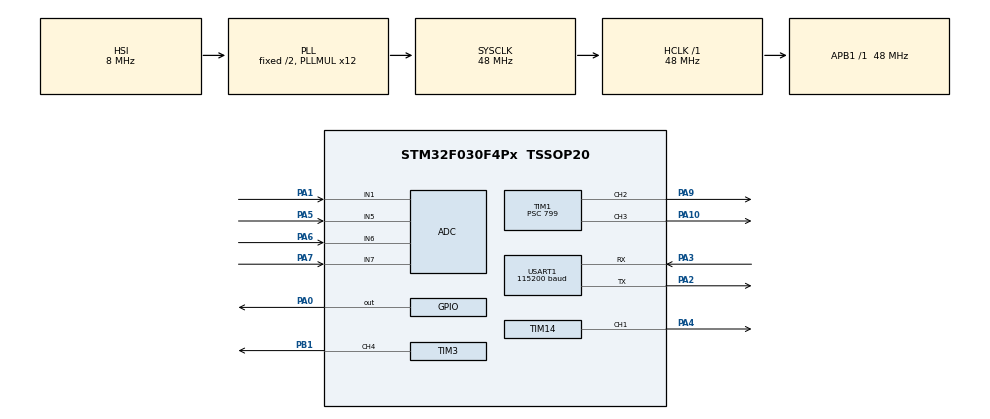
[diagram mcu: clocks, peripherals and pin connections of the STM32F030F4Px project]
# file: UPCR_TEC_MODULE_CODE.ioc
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ADC.ClockPrescaler=ADC_CLOCK_ASYNC_DIV1
ADC.ContinuousConvMode=DISABLE
ADC.DMAContinuousRequests=ENABLE
ADC.DiscontinuousConvMode=DISABLE
ADC.EOCSelection=ADC_EOC_SEQ_CONV
ADC.ExternalTrigConv=ADC_SOFTWARE_START
ADC.Overrun=ADC_OVR_DATA_OVERWRITTEN
ADC.SamplingTime=ADC_SAMPLETIME_239CYCLES_5
Dma.ADC.0.Direction=DMA_PERIPH_TO_MEMORY
Dma.ADC.0.Instance=DMA1_Channel1
Dma.ADC.0.MemDataAlignment=DMA_MDATAALIGN_WORD
Dma.ADC.0.MemInc=DMA_MINC_ENABLE
Dma.ADC.0.Mode=DMA_CIRCULAR
Dma.ADC.0.PeriphDataAlignment=DMA_PDATAALIGN_WORD
Dma.ADC.0.PeriphInc=DMA_PINC_DISABLE
Dma.ADC.0.Priority=DMA_PRIORITY_LOW
Dma.Request0=ADC
Dma.Request1=USART1_RX
Dma.USART1_RX.1.Direction=DMA_PERIPH_TO_MEMORY
Dma.USART1_RX.1.Instance=DMA1_Channel3
Dma.USART1_RX.1.MemDataAlignment=DMA_MDATAALIGN_BYTE
Dma.USART1_RX.1.MemInc=DMA_MINC_ENABLE
Dma.USART1_RX.1.Mode=DMA_CIRCULAR
Dma.USART1_RX.1.PeriphDataAlignment=DMA_PDATAALIGN_BYTE
Dma.USART1_RX.1.PeriphInc=DMA_PINC_DISABLE
Dma.USART1_RX.1.Priority=DMA_PRIORITY_LOW
Mcu.Family=STM32F0
Mcu.Name=STM32F030F4Px
Mcu.Package=TSSOP20
NVIC.DMA1_Channel1_IRQn=true\:0\:0\:false\:false\:true\:false\:true
NVIC.DMA1_Channel2_3_IRQn=true\:0\:0\:false\:false\:true\:false\:true
NVIC.TIM16_IRQn=true\:0\:0\:false\:false\:true\:true\:true
PA0.Signal=GPIO_Output
PA1.Mode=IN1
PA1.Signal=ADC_IN1
PA10.Signal=S_TIM1_CH3
PA13.Mode=Serial_Wire
PA13.Signal=SYS_SWDIO
PA14.Mode=Serial_Wire
PA14.Signal=SYS_SWCLK
PA2.Mode=Asynchronous
PA2.Signal=USART1_TX
PA3.Mode=Asynchronous
PA3.Signal=USART1_RX
PA4.Signal=S_TIM14_CH1
PA5.Mode=IN5
PA5.Signal=ADC_IN5
PA6.Mode=IN6
PA6.Signal=ADC_IN6
PA7.Mode=IN7
PA7.Signal=ADC_IN7
PA9.Signal=S_TIM1_CH2
PB1.Signal=S_TIM3_CH4
PF0-OSC_IN.Mode=HSE-External-Oscillator
PF0-OSC_IN.Signal=RCC_OSC_IN
PF1-OSC_OUT.Mode=HSE-External-Oscillator
PF1-OSC_OUT.Signal=RCC_OSC_OUT
ProjectManager.HeapSize=0x200
ProjectManager.StackSize=0x400
ProjectManager.TargetToolchain=Makefile
RCC.AHBFreq_Value=48000000
RCC.APB1Freq_Value=48000000
RCC.APB1TimFreq_Value=48000000
RCC.HCLKFreq_Value=48000000
RCC.PLLMUL=RCC_PLL_MUL12
RCC.SYSCLKFreq_VALUE=48000000
RCC.SYSCLKSource=RCC_SYSCLKSOURCE_PLLCLK
SH.S_TIM14_CH1.0=TIM14_CH1,PWM Generation1 CH1
SH.S_TIM1_CH2.0=TIM1_CH2,PWM Generation2 CH2
SH.S_TIM1_CH3.0=TIM1_CH3,PWM Generation3 CH3
SH.S_TIM3_CH4.0=TIM3_CH4,PWM Generation4 CH4
TIM1.Channel-PWM\ Generation2\ CH2=TIM_CHANNEL_2
TIM1.Channel-PWM\ Generation3\ CH3=TIM_CHANNEL_3
TIM1.Period=99
TIM1.Prescaler=799
TIM14.Channel=TIM_CHANNEL_1
TIM14.Period=99
TIM14.Prescaler=799
TIM16.Period=9
TIM16.Prescaler=47999
TIM3.Channel-PWM\ Generation4\ CH4=TIM_CHANNEL_4
USART1.BaudRate=115200
USART1.VirtualMode-Asynchronous=VM_ASYNC
VP_TIM14_VS_ClockSourceINT.Mode=Enable_Timer
VP_TIM16_VS_ClockSourceINT.Mode=Enable_Timer
board=custom

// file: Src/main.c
/* USER CODE BEGIN Header */
/**
  ******************************************************************************
  * @file           : main.c
  * @brief          : Main program body
  ******************************************************************************
  * @attention
  *
  * <h2><center>&copy; Copyright (c) 2019 STMicroelectronics.
  * All rights reserved.</center></h2>
  *
  * This software component is licensed by ST under BSD 3-Clause license,
  * the "License"; You may not use this file except in compliance with the
  * License. You may obtain a copy of the License at:
  *                        opensource.org/licenses/BSD-3-Clause
  *
  ******************************************************************************
  */
/* USER CODE END Header */

#include "main.h"

/* USER CODE BEGIN Includes */
#include "NTC.h"
#include "stm32f0xx_it.h"
#include <stdio.h>
#include <string.h>

/* USER CODE END Includes */

ADC_HandleTypeDef hadc;
DMA_HandleTypeDef hdma_adc;

TIM_HandleTypeDef htim1;
TIM_HandleTypeDef htim3;
TIM_HandleTypeDef htim14;
TIM_HandleTypeDef htim16;

UART_HandleTypeDef huart1;
DMA_HandleTypeDef hdma_usart1_rx;

/* USER CODE BEGIN PV */
volatile int enable_pid_flag, dma_adc_status_flag, new_rx_data_flag;
uint32_t new_adc_reading[4], read_adc[4]; // containers for DMA buffer and extracting data from it

uint16_t Setpoint;
uint8_t rx_buffer[4], data[4];

/* USER CODE END PV */

void SystemClock_Config(void);
static void MX_GPIO_Init(void);
static void MX_ADC_Init(void);
static void MX_TIM1_Init(void);
static void MX_TIM3_Init(void);
static void MX_TIM14_Init(void);
static void MX_USART1_UART_Init(void);
static void MX_TIM16_Init(void);
static void MX_DMA_Init(void);
/* USER CODE BEGIN PFP */
void pwm_set_value(uint8_t channel, uint16_t value);
void calibrateADC(); // remove ADC offset

/* USER CODE END PFP */

/* USER CODE BEGIN 0 */
void HAL_TIM_PeriodElapsedCallback(TIM_HandleTypeDef* htim)
{
    if (htim->Instance == TIM16) {
        HAL_ADC_Start_DMA(&hadc, new_adc_reading, 4);
    }
}

void HAL_ADC_ConvCpltCallback(ADC_HandleTypeDef* hadc)
{
    //despite its name this funciton gets called when the  DMA transfer complete interrupt is triggered
    dma_adc_status_flag = 1;
}
void HAL_UART_RxCpltCallback(UART_HandleTypeDef* huart)
{
    //this happens when the receive buffer is full
    new_rx_data_flag = 1;
}

/* USER CODE END 0 */

int main(void)
{

    /* MCU Configuration--------------------------------------------------------*/

    /* Reset of all peripherals, Initializes the Flash interface and the Systick. */
    HAL_Init();

    /* Configure the system clock */
    SystemClock_Config();

    /* Initialize all configured peripherals */
    MX_GPIO_Init();
    MX_ADC_Init();
    MX_TIM1_Init();
    MX_TIM3_Init();
    MX_TIM14_Init();
    MX_USART1_UART_Init();
    MX_TIM16_Init();
    MX_DMA_Init();
    /* USER CODE BEGIN 2 */
    HAL_ADC_MspInit(&hadc); // I need to call this function again because of a STM32CubeMX bug: when MX_DMA_Init runs it breaks the DMA settings done in the ADC so we have to reconfiure it later
    HAL_UART_MspInit(&huart1); // same, STM32DubeMX bug.
    HAL_TIM_Base_Start_IT(&htim16); //enable timer 16 with interrupt
    HAL_GPIO_WritePin(GPIOA, GPIO_PIN_0, 1); // enable RX and TX
    HAL_UART_Receive_DMA(&huart1, rx_buffer, sizeof(rx_buffer));

    /* USER CODE END 2 */

    /* Infinite loop */
    /* USER CODE BEGIN WHILE */
    while (1) {

        if (new_rx_data_flag == 1) {
            //new data is available in the DMA buffer, pull it out before it gets overwritten
            memcpy(data, rx_buffer, sizeof(rx_buffer));
            new_rx_data_flag = 0; //reset flag
            if (data[0] == 0x54) // if Byte 1= "T" for Temperature  T->0x54
            {
                Setpoint = (uint16_t)data[1];
                enable_pid_flag = 1;
            }

            if (data[0] == 0x53) // if Byte 1= "S" for Stop  S->0x53
            {
                enable_pid_flag = 0;
            }
        }

        if ((dma_adc_status_flag == 1) && (enable_pid_flag == 1)) {
            // reset the flag
            dma_adc_status_flag = 0;
            //new data is available in the DMA buffer, pull it out before it gets overwritten
            memcpy(read_adc, new_adc_reading, sizeof(read_adc));

            // run PID function
            int32_t result = compute_temp_PID(Setpoint, read_adc[0]);

            //set Output PWM
            // if result is positive: run the heater, turn off the cooler
            // if result is negative: run the cooler, turn off the heater
            // we assume the heater is connected to TEC1 and the Cooler to TEC2
            if (result >= 0) {
                pwm_set_value(1, result);
                pwm_set_value(3, 0);
            } else {
                pwm_set_value(1, 0);
                pwm_set_value(3, -result);
            }
        }

        /* USER CODE END WHILE */

    }
}

void SystemClock_Config(void)
{
    RCC_OscInitTypeDef RCC_OscInitStruct = { 0 };
    RCC_ClkInitTypeDef RCC_ClkInitStruct = { 0 };
    RCC_PeriphCLKInitTypeDef PeriphClkInit = { 0 };

    /** Initializes the CPU, AHB and APB busses clocks
  */
    RCC_OscInitStruct.OscillatorType = RCC_OSCILLATORTYPE_HSI | RCC_OSCILLATORTYPE_HSI14;
    RCC_OscInitStruct.HSIState = RCC_HSI_ON;
    RCC_OscInitStruct.HSI14State = RCC_HSI14_ON;
    RCC_OscInitStruct.HSICalibrationValue = RCC_HSICALIBRATION_DEFAULT;
    RCC_OscInitStruct.HSI14CalibrationValue = 16;
    RCC_OscInitStruct.PLL.PLLState = RCC_PLL_ON;
    RCC_OscInitStruct.PLL.PLLSource = RCC_PLLSOURCE_HSI;
    RCC_OscInitStruct.PLL.PLLMUL = RCC_PLL_MUL12;
    RCC_OscInitStruct.PLL.PREDIV = RCC_PREDIV_DIV1;
    if (HAL_RCC_OscConfig(&RCC_OscInitStruct) != HAL_OK) {
        Error_Handler();
    }
    /** Initializes the CPU, AHB and APB busses clocks
  */
    RCC_ClkInitStruct.ClockType = RCC_CLOCKTYPE_HCLK | RCC_CLOCKTYPE_SYSCLK
        | RCC_CLOCKTYPE_PCLK1;
    RCC_ClkInitStruct.SYSCLKSource = RCC_SYSCLKSOURCE_PLLCLK;
    RCC_ClkInitStruct.AHBCLKDivider = RCC_SYSCLK_DIV1;
    RCC_ClkInitStruct.APB1CLKDivider = RCC_HCLK_DIV1;

    if (HAL_RCC_ClockConfig(&RCC_ClkInitStruct, FLASH_LATENCY_1) != HAL_OK) {
        Error_Handler();
    }
    PeriphClkInit.PeriphClockSelection = RCC_PERIPHCLK_USART1;
    PeriphClkInit.Usart1ClockSelection = RCC_USART1CLKSOURCE_PCLK1;
    if (HAL_RCCEx_PeriphCLKConfig(&PeriphClkInit) != HAL_OK) {
        Error_Handler();
    }
}

static void MX_ADC_Init(void)
{

    ADC_ChannelConfTypeDef sConfig = { 0 };

    /** Configure the global features of the ADC (Clock, Resolution, Data Alignment and number of conversion)
  */
    hadc.Instance = ADC1;
    hadc.Init.ClockPrescaler = ADC_CLOCK_ASYNC_DIV1;
    hadc.Init.Resolution = ADC_RESOLUTION_12B;
    hadc.Init.DataAlign = ADC_DATAALIGN_RIGHT;
    hadc.Init.ScanConvMode = ADC_SCAN_DIRECTION_FORWARD;
    hadc.Init.EOCSelection = ADC_EOC_SEQ_CONV;
    hadc.Init.LowPowerAutoWait = DISABLE;
    hadc.Init.LowPowerAutoPowerOff = DISABLE;
    hadc.Init.ContinuousConvMode = DISABLE;
    hadc.Init.DiscontinuousConvMode = DISABLE;
    hadc.Init.ExternalTrigConv = ADC_SOFTWARE_START;
    hadc.Init.ExternalTrigConvEdge = ADC_EXTERNALTRIGCONVEDGE_NONE;
    hadc.Init.DMAContinuousRequests = ENABLE;
    hadc.Init.Overrun = ADC_OVR_DATA_OVERWRITTEN;
    if (HAL_ADC_Init(&hadc) != HAL_OK) {
        Error_Handler();
    }
    /** Configure for the selected ADC regular channel to be converted.
  */
    sConfig.Channel = ADC_CHANNEL_1;
    sConfig.Rank = ADC_RANK_CHANNEL_NUMBER;
    sConfig.SamplingTime = ADC_SAMPLETIME_239CYCLES_5;
    if (HAL_ADC_ConfigChannel(&hadc, &sConfig) != HAL_OK) {
        Error_Handler();
    }
    /** Configure for the selected ADC regular channel to be converted.
  */
    sConfig.Channel = ADC_CHANNEL_5;
    if (HAL_ADC_ConfigChannel(&hadc, &sConfig) != HAL_OK) {
        Error_Handler();
    }
    /** Configure for the selected ADC regular channel to be converted.
  */
    sConfig.Channel = ADC_CHANNEL_6;
    if (HAL_ADC_ConfigChannel(&hadc, &sConfig) != HAL_OK) {
        Error_Handler();
    }
    /** Configure for the selected ADC regular channel to be converted.
  */
    sConfig.Channel = ADC_CHANNEL_7;
    if (HAL_ADC_ConfigChannel(&hadc, &sConfig) != HAL_OK) {
        Error_Handler();
    }
    /* USER CODE BEGIN ADC_Init 2 */

    calibrateADC();
    /* USER CODE END ADC_Init 2 */
}

static void MX_TIM1_Init(void)
{

    TIM_MasterConfigTypeDef sMasterConfig = { 0 };
    TIM_OC_InitTypeDef sConfigOC = { 0 };
    TIM_BreakDeadTimeConfigTypeDef sBreakDeadTimeConfig = { 0 };

    htim1.Instance = TIM1;
    htim1.Init.Prescaler = 799;
    htim1.Init.CounterMode = TIM_COUNTERMODE_UP;
    htim1.Init.Period = 99;
    htim1.Init.ClockDivision = TIM_CLOCKDIVISION_DIV1;
    htim1.Init.RepetitionCounter = 0;
    htim1.Init.AutoReloadPreload = TIM_AUTORELOAD_PRELOAD_DISABLE;
    if (HAL_TIM_PWM_Init(&htim1) != HAL_OK) {
        Error_Handler();
    }
    sMasterConfig.MasterOutputTrigger = TIM_TRGO_RESET;
    sMasterConfig.MasterSlaveMode = TIM_MASTERSLAVEMODE_DISABLE;
    if (HAL_TIMEx_MasterConfigSynchronization(&htim1, &sMasterConfig) != HAL_OK) {
        Error_Handler();
    }
    sConfigOC.OCMode = TIM_OCMODE_PWM1;
    sConfigOC.Pulse = 0;
    sConfigOC.OCPolarity = TIM_OCPOLARITY_HIGH;
    sConfigOC.OCNPolarity = TIM_OCNPOLARITY_HIGH;
    sConfigOC.OCFastMode = TIM_OCFAST_DISABLE;
    sConfigOC.OCIdleState = TIM_OCIDLESTATE_RESET;
    sConfigOC.OCNIdleState = TIM_OCNIDLESTATE_RESET;
    if (HAL_TIM_PWM_ConfigChannel(&htim1, &sConfigOC, TIM_CHANNEL_2) != HAL_OK) {
        Error_Handler();
    }
    if (HAL_TIM_PWM_ConfigChannel(&htim1, &sConfigOC, TIM_CHANNEL_3) != HAL_OK) {
        Error_Handler();
    }
    sBreakDeadTimeConfig.OffStateRunMode = TIM_OSSR_DISABLE;
    sBreakDeadTimeConfig.OffStateIDLEMode = TIM_OSSI_DISABLE;
    sBreakDeadTimeConfig.LockLevel = TIM_LOCKLEVEL_OFF;
    sBreakDeadTimeConfig.DeadTime = 0;
    sBreakDeadTimeConfig.BreakState = TIM_BREAK_DISABLE;
    sBreakDeadTimeConfig.BreakPolarity = TIM_BREAKPOLARITY_HIGH;
    sBreakDeadTimeConfig.AutomaticOutput = TIM_AUTOMATICOUTPUT_DISABLE;
    if (HAL_TIMEx_ConfigBreakDeadTime(&htim1, &sBreakDeadTimeConfig) != HAL_OK) {
        Error_Handler();
    }
    HAL_TIM_MspPostInit(&htim1);
}

static void MX_TIM3_Init(void)
{

    TIM_MasterConfigTypeDef sMasterConfig = { 0 };
    TIM_OC_InitTypeDef sConfigOC = { 0 };

    htim3.Instance = TIM3;
    htim3.Init.Prescaler = 0;
    htim3.Init.CounterMode = TIM_COUNTERMODE_UP;
    htim3.Init.Period = 0;
    htim3.Init.ClockDivision = TIM_CLOCKDIVISION_DIV1;
    htim3.Init.AutoReloadPreload = TIM_AUTORELOAD_PRELOAD_DISABLE;
    if (HAL_TIM_PWM_Init(&htim3) != HAL_OK) {
        Error_Handler();
    }
    sMasterConfig.MasterOutputTrigger = TIM_TRGO_RESET;
    sMasterConfig.MasterSlaveMode = TIM_MASTERSLAVEMODE_DISABLE;
    if (HAL_TIMEx_MasterConfigSynchronization(&htim3, &sMasterConfig) != HAL_OK) {
        Error_Handler();
    }
    sConfigOC.OCMode = TIM_OCMODE_PWM1;
    sConfigOC.Pulse = 0;
    sConfigOC.OCPolarity = TIM_OCPOLARITY_HIGH;
    sConfigOC.OCFastMode = TIM_OCFAST_DISABLE;
    if (HAL_TIM_PWM_ConfigChannel(&htim3, &sConfigOC, TIM_CHANNEL_4) != HAL_OK) {
        Error_Handler();
    }
    HAL_TIM_MspPostInit(&htim3);
}

static void MX_TIM14_Init(void)
{

    TIM_OC_InitTypeDef sConfigOC = { 0 };

    htim14.Instance = TIM14;
    htim14.Init.Prescaler = 799;
    htim14.Init.CounterMode = TIM_COUNTERMODE_UP;
    htim14.Init.Period = 99;
    htim14.Init.ClockDivision = TIM_CLOCKDIVISION_DIV1;
    htim14.Init.AutoReloadPreload = TIM_AUTORELOAD_PRELOAD_DISABLE;
    if (HAL_TIM_Base_Init(&htim14) != HAL_OK) {
        Error_Handler();
    }
    if (HAL_TIM_PWM_Init(&htim14) != HAL_OK) {
        Error_Handler();
    }
    sConfigOC.OCMode = TIM_OCMODE_PWM1;
    sConfigOC.Pulse = 0;
    sConfigOC.OCPolarity = TIM_OCPOLARITY_HIGH;
    sConfigOC.OCFastMode = TIM_OCFAST_DISABLE;
    if (HAL_TIM_PWM_ConfigChannel(&htim14, &sConfigOC, TIM_CHANNEL_1) != HAL_OK) {
        Error_Handler();
    }
    HAL_TIM_MspPostInit(&htim14);
}

static void MX_TIM16_Init(void)
{

    htim16.Instance = TIM16;
    htim16.Init.Prescaler = 47999;
    htim16.Init.CounterMode = TIM_COUNTERMODE_UP;
    htim16.Init.Period = 9;
    htim16.Init.ClockDivision = TIM_CLOCKDIVISION_DIV1;
    htim16.Init.RepetitionCounter = 0;
    htim16.Init.AutoReloadPreload = TIM_AUTORELOAD_PRELOAD_DISABLE;
    if (HAL_TIM_Base_Init(&htim16) != HAL_OK) {
        Error_Handler();
    }
}

static void MX_USART1_UART_Init(void)
{

    huart1.Instance = USART1;
    huart1.Init.BaudRate = 115200;
    huart1.Init.WordLength = UART_WORDLENGTH_8B;
    huart1.Init.StopBits = UART_STOPBITS_1;
    huart1.Init.Parity = UART_PARITY_NONE;
    huart1.Init.Mode = UART_MODE_TX_RX;
    huart1.Init.HwFlowCtl = UART_HWCONTROL_NONE;
    huart1.Init.OverSampling = UART_OVERSAMPLING_16;
    huart1.Init.OneBitSampling = UART_ONE_BIT_SAMPLE_DISABLE;
    huart1.AdvancedInit.AdvFeatureInit = UART_ADVFEATURE_NO_INIT;
    if (HAL_UART_Init(&huart1) != HAL_OK) {
        Error_Handler();
    }
}

static void MX_DMA_Init(void)
{

    /* DMA controller clock enable */
    __HAL_RCC_DMA1_CLK_ENABLE();

    /* DMA interrupt init */
    /* DMA1_Channel1_IRQn interrupt configuration */
    HAL_NVIC_SetPriority(DMA1_Channel1_IRQn, 0, 0);
    HAL_NVIC_EnableIRQ(DMA1_Channel1_IRQn);
    /* DMA1_Channel2_3_IRQn interrupt configuration */
    HAL_NVIC_SetPriority(DMA1_Channel2_3_IRQn, 0, 0);
    HAL_NVIC_EnableIRQ(DMA1_Channel2_3_IRQn);
}

static void MX_GPIO_Init(void)
{
    GPIO_InitTypeDef GPIO_InitStruct = { 0 };

    /* GPIO Ports Clock Enable */
    __HAL_RCC_GPIOF_CLK_ENABLE();
    __HAL_RCC_GPIOA_CLK_ENABLE();
    __HAL_RCC_GPIOB_CLK_ENABLE();

    /*Configure GPIO pin Output Level */
    HAL_GPIO_WritePin(GPIOA, GPIO_PIN_0, GPIO_PIN_RESET);

    /*Configure GPIO pin : PA0 */
    GPIO_InitStruct.Pin = GPIO_PIN_0;
    GPIO_InitStruct.Mode = GPIO_MODE_OUTPUT_PP;
    GPIO_InitStruct.Pull = GPIO_NOPULL;
    GPIO_InitStruct.Speed = GPIO_SPEED_FREQ_LOW;
    HAL_GPIO_Init(GPIOA, &GPIO_InitStruct);
}

/* USER CODE BEGIN 4 */
void calibrateADC()
{
    /* (1) Ensure that ADEN = 0 */
    /* (2) Clear ADEN by setting ADDIS*/
    /* (3) Clear DMAEN */
    /* (4) Launch the calibration by setting ADCAL */
    /* (5) Wait until ADCAL=0 */
    if ((ADC1->CR & ADC_CR_ADEN) != 0) /* (1) */
    {
        ADC1->CR |= ADC_CR_ADDIS; /* (2) */
    }
    while ((ADC1->CR & ADC_CR_ADEN) != 0) {
        /* For robust implementation, add here time-out management */
    }
    ADC1->CFGR1 &= ~ADC_CFGR1_DMAEN; /* (3) */
    ADC1->CR |= ADC_CR_ADCAL; /* (4) */
    volatile unsigned j = 0;
    while ((ADC1->CR & ADC_CR_ADCAL) != 0) /* (5) */
    {
        /* For robust implementation, add here time-out management */
        j++;
    }
    HAL_Delay(j);
}

void pwm_set_value(uint8_t channel, uint16_t value)
{

    TIM_OC_InitTypeDef sConfigOC;
    sConfigOC.OCMode = TIM_OCMODE_PWM1;
    sConfigOC.Pulse = value;
    sConfigOC.OCPolarity = TIM_OCPOLARITY_HIGH;
    sConfigOC.OCFastMode = TIM_OCFAST_DISABLE;

    if (channel == 1) { // to TEC 1 driver
        HAL_TIM_PWM_ConfigChannel(&htim14, &sConfigOC, TIM_CHANNEL_1);
        HAL_TIM_PWM_Start(&htim14, TIM_CHANNEL_1);
    }
    if (channel == 2) { //to TEC 1 driver
        HAL_TIM_PWM_ConfigChannel(&htim1, &sConfigOC, TIM_CHANNEL_2);
        HAL_TIM_PWM_Start(&htim1, TIM_CHANNEL_2);
    }
    if (channel == 3) { // to TEC 2 driver
        HAL_TIM_PWM_ConfigChannel(&htim1, &sConfigOC, TIM_CHANNEL_3);
        HAL_TIM_PWM_Start(&htim1, TIM_CHANNEL_3);
    }
    if (channel == 4) { // to TEC 2 driver
        HAL_TIM_PWM_ConfigChannel(&htim3, &sConfigOC, TIM_CHANNEL_4);
        HAL_TIM_PWM_Start(&htim3, TIM_CHANNEL_4);
    }
}

/* USER CODE END 4 */

void Error_Handler(void)
{
}

/************************ (C) COPYRIGHT STMicroelectronics *****END OF FILE****/
